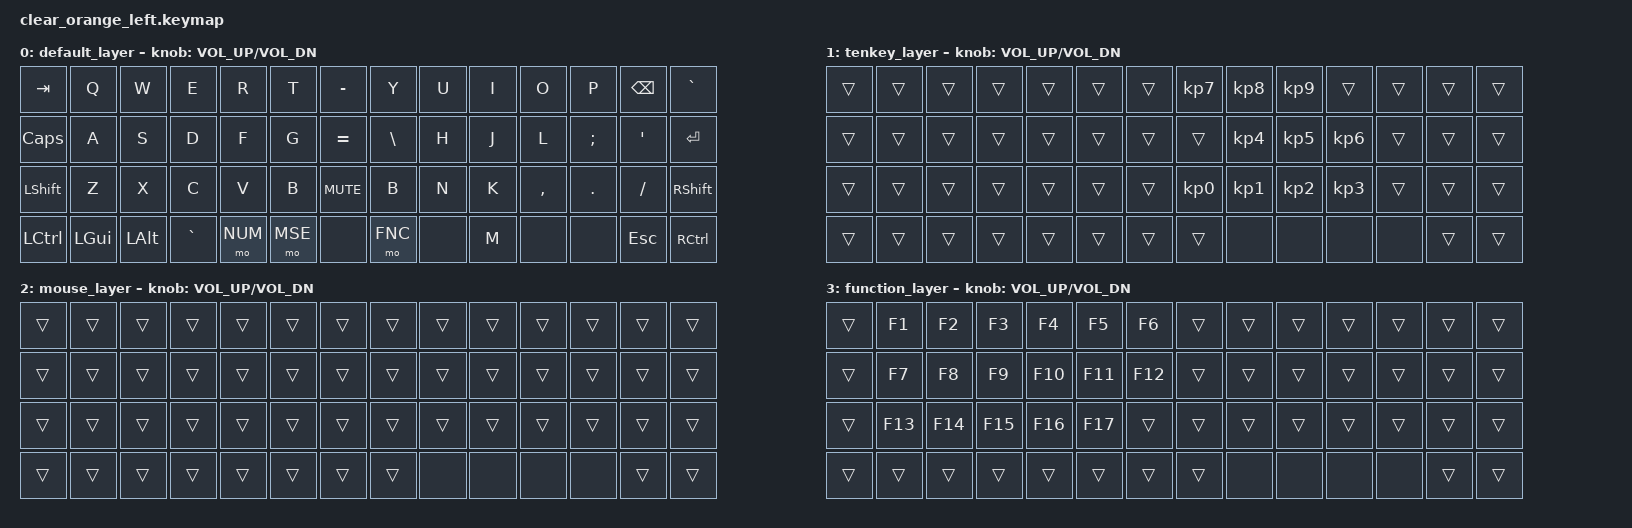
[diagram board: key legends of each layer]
#include "boards/shields/clear_orange/clear_orange.dtsi"

#include <dt-bindings/zmk/matrix_transform.h>
#include <behaviors.dtsi>
#include <dt-bindings/zmk/keys.h>
#include <dt-bindings/zmk/mouse.h>

#define DEF 0
#define NUM 1
#define MSE 2
#define FNC 3

/ {
    keymap {
        compatible = "zmk,keymap";

        // 0: デフォルトレイヤー
        default_layer {
            bindings = <
                &kp TAB   &kp Q    &kp W    &kp E     &kp R   &kp T   &kp MINUS     &kp Y    &kp U    &kp I    &kp O     &kp P    &kp BSPC  &kp GRAVE
                &kp CAPS  &kp A    &kp S    &kp D     &kp F   &kp G   &kp EQUAL     &kp BSLH &kp H    &kp J    &kp L     &kp SEMI &kp SQT   &kp RET
                &kp LSHFT &kp Z    &kp X    &kp C     &kp V   &kp B   &kp C_MUTE    &kp B    &kp N    &kp K    &kp COMMA &kp DOT  &kp FSLH  &kp RSHFT
                &kp LCTRL &kp LGUI &kp LALT &kp GRAVE &mo NUM &mo MSE &none         &mo FNC  &none    &kp M    &none     &none    &kp ESC   &kp RCTRL
            >;
            sensor-bindings = <&inc_dec_kp C_VOL_UP C_VOL_DN>;
        };

        // 1: テンキーレイヤー
        tenkey_layer {
            bindings = <
                &trans    &trans   &trans   &trans    &trans  &trans  &trans        &kp KP_N7 &kp KP_N8 &kp KP_N9 &trans   &trans    &trans    &trans
                &trans    &trans   &trans   &trans    &trans  &trans  &trans        &trans    &kp KP_N4 &kp KP_N5 &kp KP_N6 &trans   &trans    &trans
                &trans    &trans   &trans   &trans    &trans  &trans  &trans        &kp KP_N0 &kp KP_N1 &kp KP_N2 &kp KP_N3 &trans   &trans    &trans
                &trans    &trans   &trans   &trans    &trans  &trans  &trans        &trans    &none     &none     &none     &none    &trans    &trans
            >;
            sensor-bindings = <&inc_dec_kp C_VOL_UP C_VOL_DN>;
        };

        // 2: マウス＆矢印レイヤー
        mouse_layer {
            bindings = <
                &trans    &trans   &trans   &trans    &trans  &trans  &trans        &trans    &trans    &trans    &trans    &trans   &trans    &trans
                &trans    &trans   &trans   &trans    &trans  &trans  &trans        &trans    &trans    &trans    &trans    &trans   &trans    &trans
                &trans    &trans   &trans   &trans    &trans  &trans  &trans        &trans    &trans    &trans    &trans    &trans   &trans    &trans
                &trans    &trans   &trans   &trans    &trans  &trans  &trans        &trans    &none     &none     &none     &none    &trans    &trans
            >;
            sensor-bindings = <&inc_dec_kp C_VOL_UP C_VOL_DN>;
        };

        // 3: ファンクションレイヤー
        function_layer {
            bindings = <
                &trans    &kp F1   &kp F2   &kp F3    &kp F4  &kp F5  &kp F6        &trans    &trans    &trans    &trans    &trans   &trans    &trans
                &trans    &kp F7   &kp F8   &kp F9    &kp F10 &kp F11 &kp F12       &trans    &trans    &trans    &trans    &trans   &trans    &trans
                &trans    &kp F13  &kp F14  &kp F15   &kp F16 &kp F17 &trans        &trans    &trans    &trans    &trans    &trans   &trans    &trans
                &trans    &trans   &trans   &trans    &trans  &trans  &trans        &trans    &none     &none     &none     &none    &trans    &trans
            >;
            sensor-bindings = <&inc_dec_kp C_VOL_UP C_VOL_DN>;
        };
    };
};
